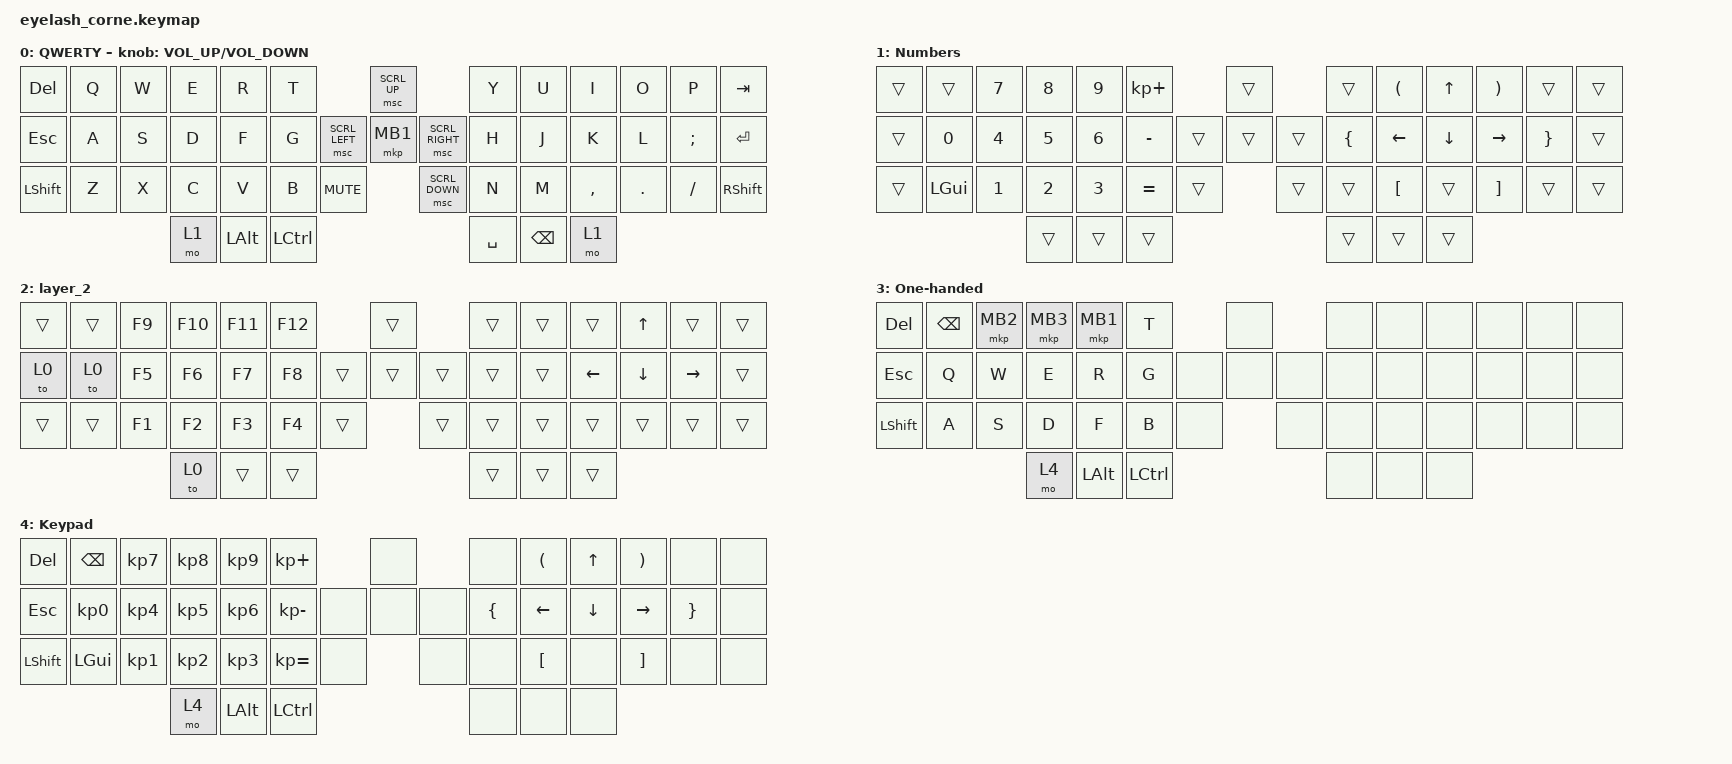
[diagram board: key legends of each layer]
#define ZMK_POINTING_DEFAULT_MOVE_VAL 1200  // 600
#define ZMK_POINTING_DEFAULT_SCRL_VAL 25   // 10

#include <input/processors.dtsi>
#include <zephyr/dt-bindings/input/input-event-codes.h>
#include <behaviors.dtsi>
#include <dt-bindings/zmk/keys.h>
#include <dt-bindings/zmk/pointing.h>
#include <dt-bindings/zmk/rgb.h>

&mmv_input_listener { input-processors = <&zip_xy_scaler 2 1>; };

&msc_input_listener { input-processors = <&zip_scroll_scaler 2 1>; };

&msc {
    acceleration-exponent = <1>;      // 0
    time-to-max-speed-ms = <100>;       // 300
    delay-ms = <0>;                   // 0
};

&mmv {
    time-to-max-speed-ms = <500>;
    acceleration-exponent = <1>;
    trigger-period-ms = <16>;
};

/ {
    rgb_encoder: rgb_encoder {
        compatible = "zmk,behavior-sensor-rotate";
        #sensor-binding-cells = <0>;
        bindings = <&rgb_ug RGB_BRI>, <&rgb_ug RGB_BRD>;
    };

    scroll_encoder: scroll_encoder {
        compatible = "zmk,behavior-sensor-rotate";
        #sensor-binding-cells = <0>;
        bindings = <&msc SCRL_DOWN>, <&msc SCRL_UP>;

        tap-ms = <100>;
    };

    combos {
        compatible = "zmk,combos";

        Home {
            bindings = <&kp HOME>;
            key-positions = <23 24 25>;
            layers = <0 1 2>;
        };

        End {
            bindings = <&kp END>;
            key-positions = <37 38 39>;
            layers = <0 1 2>;
        };

        Hashtag {
            bindings = <&kp POUND>;
            key-positions = <7 8 9>;
            layers = <0 1 2>;
        };

        Asterix {
            bindings = <&kp ASTRK>;
            key-positions = <36 37 38>;
            layers = <0 1 2>;
        };

        leftParenthesis {
            bindings = <&kp LEFT_PARENTHESIS>;
            key-positions = <23 46>;
            layers = <0 1 2>;
        };

        rightParenthesis {
            bindings = <&kp RIGHT_PARENTHESIS>;
            key-positions = <46 24>;
            layers = <0 1 2>;
        };

        leftBracket {
            bindings = <&kp LEFT_BRACKET>;
            key-positions = <8 46>;
            layers = <0 1 2>;
        };

        rightBracket {
            bindings = <&kp RIGHT_BRACKET>;
            key-positions = <46 9>;
            layers = <0 1 2>;
        };

        rightCurly {
            bindings = <&kp RIGHT_BRACE>;
            key-positions = <46 38>;
            layers = <0 1 2>;
        };

        leftBrace {
            bindings = <&kp LEFT_BRACE>;
            key-positions = <37 46>;
            layers = <0 1 2>;
        };

        Enter {
            bindings = <&kp ENTER>;
            key-positions = <16 15 17>;
            layers = <0 1 2>;
        };

        quote {
            bindings = <&kp APOS>;
            key-positions = <23 9>;
            layers = <0 1 2>;
        };

        hyphen {
            bindings = <&kp MINUS>;
            key-positions = <23 24>;
            layers = <0 1 2>;
        };

        backtick {
            bindings = <&kp GRAVE>;
            key-positions = <22 8>;
            layers = <0 1 2>;
        };

        Backslash {
            bindings = <&kp BACKSLASH>;
            key-positions = <8 24 39>;
            layers = <0 1 2>;
        };

        windows {
            bindings = <&kp LEFT_GUI>;
            key-positions = <24 25>;
            layers = <0 1 2>;
        };

        underscore {
            bindings = <&kp UNDER>;
            key-positions = <38 37>;
            layers = <0 1 2>;
        };


        enter_onehand {
            bindings = <&to 3>;
            key-positions = <13 18>;
            layers = <0>;
        };

        leave_onehand {
            bindings = <&to 0>;
            key-positions = <13 18>;
            layers = <3>;
        };

        qwerty_tab {
            bindings = <&kp TAB>;
            key-positions = <16 17>;
            layers = <0>;
        };

        onehand_dot {
            bindings = <&kp DOT>;
            key-positions = <29 32>;
            layers = <3>;
        };

        onehand_c {
            bindings = <&kp C>;
            key-positions = <31 32>;
            layers = <3>;
        };

        onehand_h {
            bindings = <&kp H>;
            key-positions = <30 32>;
            layers = <3>;
        };

        onehand_j {
            bindings = <&kp J>;
            key-positions = <14 15>;
            layers = <3>;
        };

        onehand_k {
            bindings = <&kp K>;
            key-positions = <29 31>;
            layers = <3>;
        };

        onehand_m {
            bindings = <&kp M>;
            key-positions = <29 30 31>;
            layers = <3>;
        };

        onehand_n {
            bindings = <&kp N>;
            key-positions = <14 16>;
            layers = <3>;
        };

        onehand_l {
            bindings = <&kp L>;
            key-positions = <30 31 32>;
            layers = <3>;
        };

        onehand_u {
            bindings = <&kp U>;
            key-positions = <30 31>;
            layers = <3>;
        };

        onehand_v {
            bindings = <&kp V>;
            key-positions = <15 17>;
            layers = <3>;
        };

        onehand_p {
            bindings = <&kp P>;
            key-positions = <15 16>;
            layers = <3>;
        };

        onehand_i {
            bindings = <&kp I>;
            key-positions = <16 17>;
            layers = <3>;
        };

        onehand_o {
            bindings = <&kp O>;
            key-positions = <15 16 17>;
            layers = <3>;
        };

        onehand_x {
            bindings = <&kp X>;
            key-positions = <14 17>;
            layers = <3>;
        };

        onehand_y {
            bindings = <&kp Y>;
            key-positions = <14 15 16>;
            layers = <3>;
        };

        onehand_z {
            bindings = <&kp Z>;
            key-positions = <18 17>;
            layers = <3>;
        };

        onehand_enter {
            bindings = <&kp ENTER>;
            key-positions = <33 32>;
            layers = <3>;
        };

        onehand_tab {
            bindings = <&kp TAB>;
            key-positions = <29 30>;
            layers = <3>;
        };

        onehand_space {
            bindings = <&kp SPACE>;
            key-positions = <29 30 31 32>;
            layers = <3>;
        };
    };

    macros {
        Pan: new_macro {
            compatible = "zmk,behavior-macro";
            #binding-cells = <0>;
            bindings = <&mkp MB3 &kp LEFT_ALT>;
            label = "NEW_MACRO";
        };

        Zoom: Zoom {
            compatible = "zmk,behavior-macro";
            #binding-cells = <0>;
            bindings = <&mkp MB2 &kp LEFT_ALT>;
            label = "ZOOM";
        };
    };

    keymap {
        compatible = "zmk,keymap";

        default_layer {
            display-name = "QWERTY";
            bindings = <
&kp DELETE      &kp Q  &kp W  &kp E  &kp R         &kp T                                    &msc SCRL_UP                     &kp Y      &kp U          &kp I      &kp O    &kp P     &kp TAB
&kp ESCAPE      &kp A  &kp S  &kp D  &kp F         &kp G                    &msc SCRL_LEFT  &mkp MB1        &msc SCRL_RIGHT  &kp H      &kp J          &kp K      &kp L    &kp SEMI  &kp ENTER
&kp LEFT_SHIFT  &kp Z  &kp X  &kp C  &kp V         &kp B      &kp K_MUTE                    &msc SCRL_DOWN                   &kp N      &kp M          &kp COMMA  &kp DOT  &kp FSLH  &kp RIGHT_SHIFT
                              &mo 1  &kp LEFT_ALT  &kp LCTRL                                                                 &kp SPACE  &kp BACKSPACE  &mo 1
            >;

            sensor-bindings = <&inc_dec_kp C_VOLUME_UP C_VOLUME_DOWN>;
        };

        Numbers {
            bindings = <
&trans  &trans        &kp N7        &kp N8        &kp N9        &kp KP_PLUS                    &trans          &trans          &kp LEFT_PARENTHESIS  &kp UP_ARROW  &kp RIGHT_PARENTHESIS  &trans           &trans
&trans  &kp N0        &kp NUMBER_4  &kp N5        &kp NUMBER_6  &kp MINUS              &trans  &trans  &trans  &kp LEFT_BRACE  &kp LEFT              &kp DOWN      &kp RIGHT              &kp RIGHT_BRACE  &trans
&trans  &kp LEFT_GUI  &kp NUMBER_1  &kp NUMBER_2  &kp NUMBER_3  &kp EQUAL    &trans            &trans          &trans          &kp LEFT_BRACKET      &trans        &kp RIGHT_BRACKET      &trans           &trans
                                    &trans        &trans        &trans                                         &trans          &trans                &trans
            >;
        };

        layer_2 {
            bindings = <
&trans  &trans  &kp F9  &kp F10  &kp F11  &kp F12                    &trans          &trans  &trans  &trans          &kp UP_ARROW  &trans     &trans
&to 0   &to 0   &kp F5  &kp F6   &kp F7   &kp F8             &trans  &trans  &trans  &trans  &trans  &kp LEFT_ARROW  &kp DOWN      &kp RIGHT  &trans
&trans  &trans  &kp F1  &kp F2   &kp F3   &kp F4   &trans            &trans          &trans  &trans  &trans          &trans        &trans     &trans
                        &to 0    &trans   &trans                                     &trans  &trans  &trans
            >;
        };
        onehand {
            display-name = "One-handed";
            bindings = <
                &kp DELETE  &kp BACKSPACE  &mkp MB2  &mkp MB3  &mkp MB1  &kp T  &none  &none  &none  &none  &none  &none  &none
                &kp ESCAPE  &kp Q  &kp W  &kp E  &kp R  &kp G  &none  &none  &none  &none  &none  &none  &none  &none  &none
                &kp LEFT_SHIFT  &kp A  &kp S  &kp D  &kp F  &kp B  &none  &none  &none  &none  &none  &none  &none  &none
                &mo 4  &kp LEFT_ALT  &kp LCTRL  &none  &none  &none
            >;
        };

        onehand_keypad {
            display-name = "Keypad";
            bindings = <
                &kp DELETE  &kp BACKSPACE  &kp KP_N7  &kp KP_N8  &kp KP_N9  &kp KP_PLUS  &none  &none  &kp LEFT_PARENTHESIS  &kp UP  &kp RIGHT_PARENTHESIS  &none  &none
                &kp ESCAPE  &kp KP_N0  &kp KP_N4  &kp KP_N5  &kp KP_N6  &kp KP_MINUS  &none  &none  &none  &kp LEFT_BRACE  &kp LEFT  &kp DOWN  &kp RIGHT  &kp RIGHT_BRACE  &none
                &kp LEFT_SHIFT  &kp LEFT_GUI  &kp KP_N1  &kp KP_N2  &kp KP_N3  &kp KP_EQUAL  &none  &none  &none  &kp LEFT_BRACKET  &none  &kp RIGHT_BRACKET  &none  &none
                &mo 4  &kp LEFT_ALT  &kp LCTRL  &none  &none  &none
            >;
        };
    };
};
